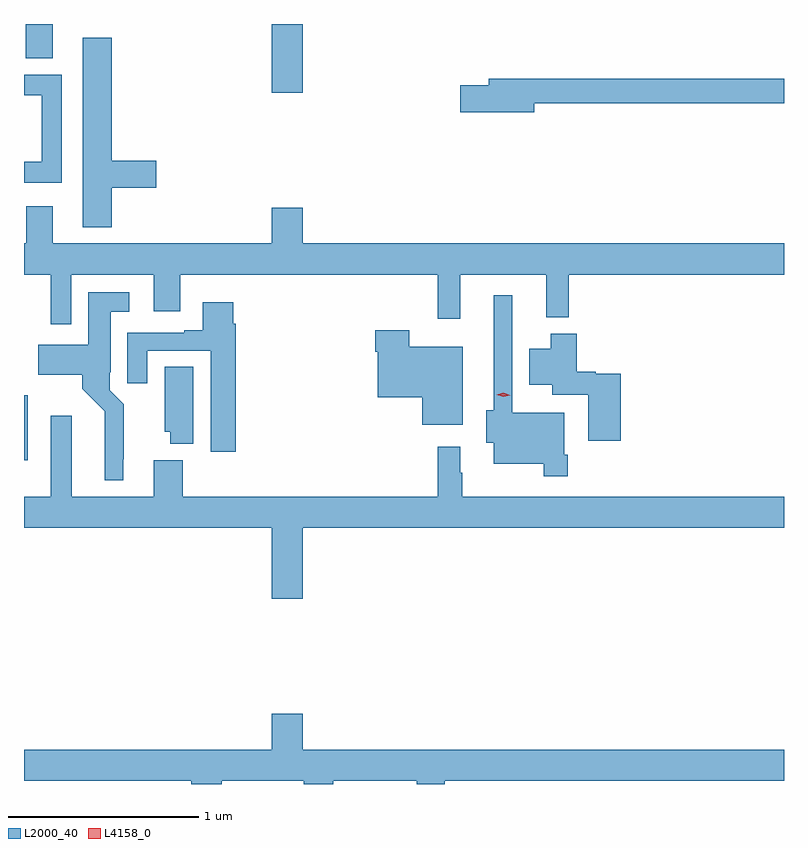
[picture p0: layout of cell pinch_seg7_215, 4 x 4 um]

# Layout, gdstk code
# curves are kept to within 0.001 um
import gdstk
lib = gdstk.Library(unit=1e-6, precision=1e-09)
def R(c, l, rs):  # rectangles x0, y0, x1, y1
    for r in rs: c.add(gdstk.rectangle(r[:2], r[2:], *l))
def P(c, l, *ps):  # polygons
    for p in ps: c.add(gdstk.Polygon(p, *l))
L2000_40 = (2000, 40)
L4158_0 = (4158, 0)

pinch_seg7_215 = lib.new_cell('pinch_seg7_215')
R(pinch_seg7_215, L2000_40, [(727.141,1036.934,727.162,1037.278), (728.444,1038.87,728.608,1039.231), (727.151,1039.05,727.291,1039.231)])
P(pinch_seg7_215, L2000_40, [(727.604,1038.37),(727.837,1038.37),(727.837,1038.512),(727.604,1038.512),(727.604,1039.159),(727.451,1039.159),(727.451,1038.161),(727.604,1038.161)],
  [(727.339,1038.963),(727.141,1038.963),(727.141,1038.855),(727.235,1038.855),(727.235,1038.506),(727.141,1038.506),(727.141,1038.396),(727.339,1038.396)],
  [(729.826,1038.814),(731.141,1038.814),(731.141,1038.943),(729.587,1038.943),(729.587,1038.909),(729.438,1038.909),(729.438,1038.767),(729.826,1038.767)],
  [(727.152,1038.076),(727.141,1038.076),(727.141,1037.912),(727.281,1037.912),(727.281,1037.652),(727.389,1037.652),(727.389,1037.912),(727.823,1037.912),(727.823,1037.718),(727.963,1037.718),(727.963,1037.912),(729.319,1037.912),(729.319,1037.679),(729.437,1037.679),(729.437,1037.912),(729.89,1037.912),(729.89,1037.687),(730.007,1037.687),(730.007,1037.912),(731.141,1037.912),(731.141,1038.076),(728.608,1038.076),(728.608,1038.265),(728.444,1038.265),(728.444,1038.076),(727.291,1038.076),(727.291,1038.271),(727.152,1038.271)],
  [(727.663,1036.939),(727.667,1036.939),(727.667,1037.23),(727.593,1037.304),(727.593,1037.398),(727.597,1037.398),(727.597,1037.717),(727.696,1037.717),(727.696,1037.818),(727.478,1037.818),(727.478,1037.542),(727.215,1037.542),(727.215,1037.384),(727.448,1037.384),(727.448,1037.31),(727.566,1037.192),(727.565,1036.829),(727.663,1036.829)],
  [(730.004,1036.963),(729.984,1036.963),(729.984,1037.185),(729.711,1037.185),(729.711,1037.803),(729.614,1037.803),(729.614,1037.198),(729.575,1037.198),(729.575,1037.027),(729.614,1037.027),(729.614,1036.916),(729.876,1036.916),(729.876,1036.851),(730.004,1036.851)],
  [(728.255,1037.654),(728.242,1037.654),(728.242,1037.767),(728.081,1037.767),(728.081,1037.62),(727.985,1037.62),(727.985,1037.607),(727.685,1037.607),(727.685,1037.34),(727.789,1037.34),(727.789,1037.511),(728.123,1037.511),(728.123,1036.98),(728.255,1036.98)],
  [(729.451,1037.533),(729.168,1037.533),(729.168,1037.62),(728.99,1037.62),(728.99,1037.507),(729.002,1037.507),(729.002,1037.267),(729.236,1037.267),(729.236,1037.123),(729.451,1037.123)],
  [(730.283,1037.389),(730.149,1037.389),(730.149,1037.402),(730.049,1037.402),(730.049,1037.602),(729.914,1037.602),(729.914,1037.521),(729.8,1037.521),(729.8,1037.333),(729.92,1037.333),(729.92,1037.279),(730.112,1037.279),(730.112,1037.037),(730.283,1037.037)],
  [(728.032,1037.426),(727.883,1037.426),(727.883,1037.085),(727.91,1037.085),(727.91,1037.021),(728.032,1037.021)],
  [(728.608,1036.58),(731.141,1036.58),(731.141,1036.744),(729.448,1036.744),(729.448,1036.868),(729.436,1036.868),(729.436,1037.007),(729.319,1037.007),(729.319,1036.744),(727.976,1036.744),(727.976,1036.936),(727.823,1036.936),(727.823,1036.744),(727.393,1036.744),(727.393,1037.17),(727.283,1037.17),(727.283,1036.744),(727.141,1036.744),(727.141,1036.58),(728.444,1036.58),(728.444,1036.206),(728.608,1036.206)],
  [(728.608,1035.601),(728.444,1035.601),(728.444,1035.412),(727.141,1035.412),(727.141,1035.248),(728.021,1035.248),(728.021,1035.231),(728.181,1035.231),(728.181,1035.248),(728.614,1035.248),(728.614,1035.231),(728.769,1035.231),(728.769,1035.248),(729.208,1035.248),(729.208,1035.231),(729.355,1035.231),(729.355,1035.248),(731.141,1035.248),(731.141,1035.412),(728.608,1035.412)])
P(pinch_seg7_215, L4158_0, [(729.663,1037.27),(729.628,1037.281),(729.628,1037.281),(729.628,1037.281),(729.664,1037.29),(729.699,1037.278),(729.699,1037.278),(729.699,1037.278)])

lib.write_gds('pinch_seg7_215.gds')
